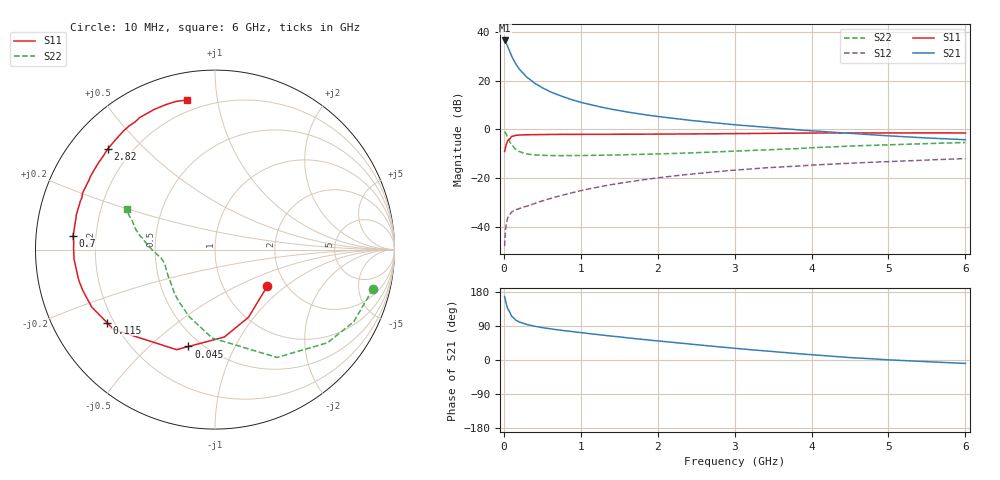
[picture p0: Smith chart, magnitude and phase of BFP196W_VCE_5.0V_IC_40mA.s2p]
! Infineon Technologies  Discrete & RF Semiconductors
! BFP196W
! VCE = 5.0 V,  IC =  40mA
! Common Emitter S-Parameters:  Jan 2016
# GHz  S  MA  R  50
!  f  S11  S21  S12  S22
! GHz  MAG  ANG  MAG  ANG  MAG  ANG  MAG  ANG
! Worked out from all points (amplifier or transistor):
!   210 points, 10 MHz to 6 GHz, reference 50 ohm
!   highest |S21| = 36.4 dB at 10 MHz (marker M1)
!   |S21| within 3 dB of that: start of sweep to 56.76 MHz
!   unconditionally stable (mu >= 1): 719.7 MHz to 3.365 GHz
!   at 185 MHz: K = 0.48, MSG = 29.0 dB, |S12| = -32.5 dB
!   at 1.52 GHz: K = 1.12, MAG = 12.7 dB, |S12| = -21.9 dB
!   at 6 GHz: K = 0.95, MSG = 3.9 dB, |S12| = -11.9 dB
!   S11 on the Smith chart (normalised r, x): 10 MHz: 1.61, -0.75; 45 MHz: 0.43, -0.67; 115 MHz: 0.17, -0.30; 700 MHz: 0.11, +0.05; 2.82 GHz: 0.11, +0.39; 6 GHz: 0.14, +0.82
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0.01  0.3556 -34.8  66.19 167.4  0.0041 78.4  0.9065 -14.0
0.02  0.4207 -63.7  64.01 158.5  0.0081 70.0  0.8713 -27.5
0.03  0.4899 -83.9  59.69 149.5  0.0112 64.4  0.8139 -39.6
0.045  0.5596 -105.3  51.7 139.1  0.0145 54.0  0.7138 -54.4
0.05  0.5971 -111.0  49.49 134.9  0.0157 51.6  0.6929 -60.1
0.1  0.7186 -141.7  31.7 115.6  0.0204 40.1  0.4928 -91.9
0.115  0.7262 -145.9  28.87 113.3  0.0211 39.0  0.46 -96.8
0.15  0.7581 -155.1  22.52 105.7  0.0228 36.6  0.4001 -111.1
0.2  0.7708 -162.8  17.2 100.3  0.024 37.6  0.355 -123.9
0.26  0.7783 -168.1  13.54 95.9  0.0261 39.4  0.3292 -133.8
0.3  0.7794 -171.1  11.67 93.6  0.0269 41.4  0.3151 -139.3
0.4  0.7871 -176.0  8.834 89.0  0.0307 45.4  0.3025 -147.8
0.5  0.7882 -179.9  7.112 85.3  0.0345 49.0  0.2966 -153.7
0.7  0.7947 174.5  5.134 79.6  0.0428 53.8  0.291 -160.5
1.02  0.7935 167.5  3.531 71.8  0.0569 57.5  0.2936 -165.9
1.4  0.7975 160.3  2.596 63.1  0.0745 58.7  0.3005 -169.6
2.02  0.805 149.4  1.828 50.0  0.1035 56.8  0.3165 -173.8
2.82  0.8197 136.6  1.329 34.3  0.1396 51.3  0.3504 -179.8
3.1  0.8253 132.3  1.213 29.2  0.1517 48.9  0.3661 177.6
4.1  0.847 118.5  0.918 12.6  0.19 40.8  0.4294 168.9
5.1  0.8528 107.9  0.726 -0.5  0.2237 32.9  0.4925 160.4
6  0.8482 100.6  0.617 -9.1  0.2537 26.6  0.541 155.3
